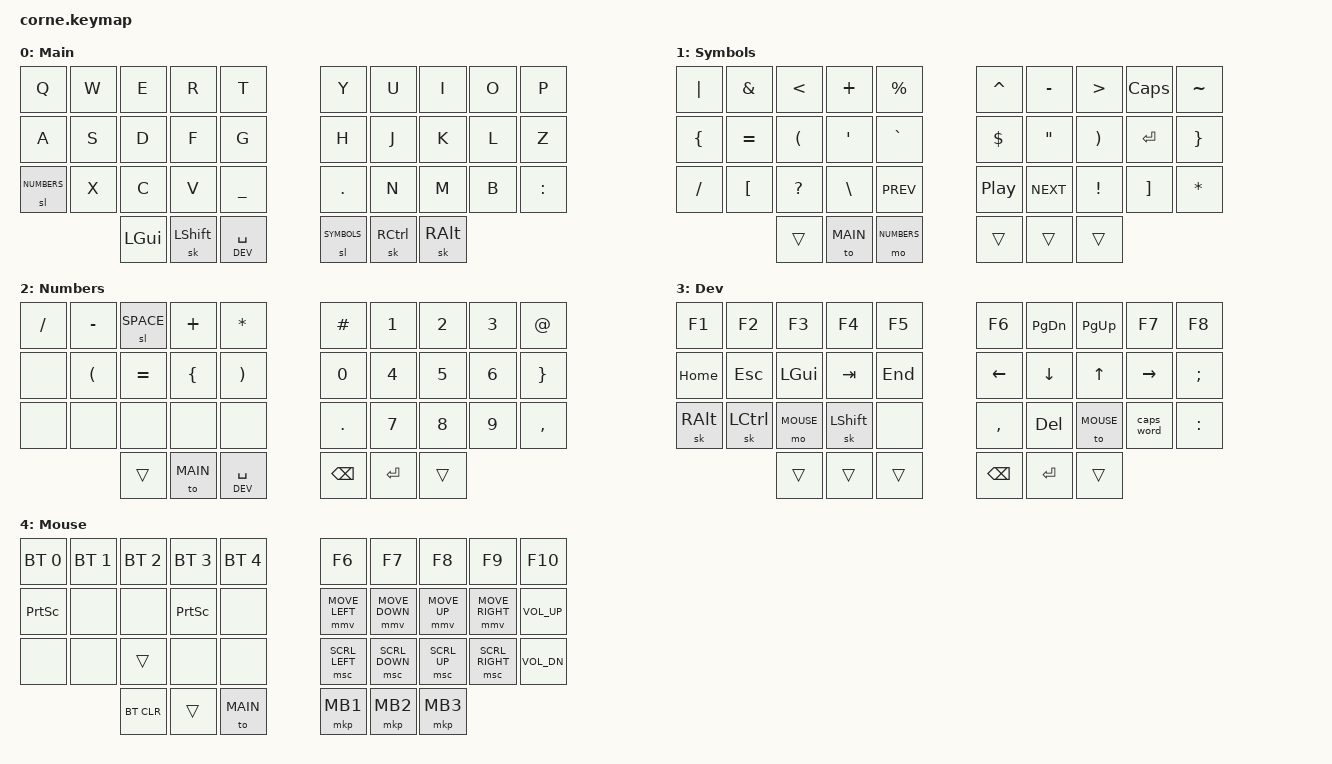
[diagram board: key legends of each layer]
/*
 * v1.0
 *
 * Copyright (c) 2020 The ZMK Contributors
 *
 * SPDX-License-Identifier: MIT
 */

#define ZMK_POINTING_DEFAULT_MOVE_VAL 1500  // default: 600
// #define ZMK_POINTING_DEFAULT_SCRL_VAL 20    // default: 10

#include <behaviors.dtsi>
#include <dt-bindings/zmk/keys.h>
#include <dt-bindings/zmk/bt.h>
#include <dt-bindings/zmk/pointing.h>

#define MAIN 0
#define SYMBOLS 1
#define NUMBERS 2
#define DEV 3
#define MOUSE 4

// ################################################################################################## KEY REF ####################################################################################################
// ╭━━━━━━━━━━━━━━━━━━━┬━━━━━━━━━━━━━━━━━━━┬━━━━ Left-side ━━━━┬━━━━━━━━━━━━━━━━━━━┬━━━━━━━━━━━━━━━━━━━╮   ╭━━━━━━━━━━━━━━━━━━━┬━━━━━━━━━━━━━━━━━━━┬━━━ Right-side ━━━━┬━━━━━━━━━━━━━━━━━━━┬━━━━━━━━━━━━━━━━━━━╮
// |        00         |        01         |        02         |        03         |        04         |   |        05         |        06         |        07         |        08         |        09         |
// ┣━━━━━━━━━━━━━━━━━━━╋━━━━━━━━━━━━━━━━━━━╋━━━━━━━━━━━━━━━━━━━╋━━━━━━━━━━━━━━━━━━━╋━━━━━━━━━━━━━━━━━━━┫   ┣━━━━━━━━━━━━━━━━━━━╋━━━━━━━━━━━━━━━━━━━╋━━━━━━━━━━━━━━━━━━━╋━━━━━━━━━━━━━━━━━━━╋━━━━━━━━━━━━━━━━━━━┫
// |        10         |        11         |        12         |        13         |        14         |   |        15         |        16         |        17         |        18         |        19         |
// ┣━━━━━━━━━━━━━━━━━━━╋━━━━━━━━━━━━━━━━━━━╋━━━━━━━━━━━━━━━━━━━╋━━━━━━━━━━━━━━━━━━━╋━━━━━━━━━━━━━━━━━━━┫   ┣━━━━━━━━━━━━━━━━━━━╋━━━━━━━━━━━━━━━━━━━╋━━━━━━━━━━━━━━━━━━━╋━━━━━━━━━━━━━━━━━━━╋━━━━━━━━━━━━━━━━━━━┫
// |        20         |        21         |        22         |        23         |        24         |   |        25         |        26         |        27         |        28         |        29         |
// ┗━━━━━━━━━━━━━━━━━━━┻━━━━━━━━━━━━━━━━━━━╊━━━━━━━━━━━━━━━━━━━╋━━━━━━━━━━━━━━━━━━━╋━━━━━━━━━━━━━━━━━━━┫   ┗━━━━━━━━━━━━━━━━━━━╊━━━━━━━━━━━━━━━━━━━╋━━━━━━━━━━━━━━━━━━━╋━━━━━━━━━━━━━━━━━━━┻━━━━━━━━━━━━━━━━━━━┫
//                                         |        30         |        31         |        32         |   |        33         |        34         |        35         |
//      			           ┗━━━━━━━━━━━━━━━━━━━┻━━━━━━━━━━━━━━━━━━━┻━━━━━━━━━━━━━━━━━━━┛   ┗━━━━━━━━━━━━━━━━━━━┻━━━━━━━━━━━━━━━━━━━┻━━━━━━━━━━━━━━━━━━━┛

&caps_word {
    continue-list = <UNDERSCORE MINUS>;
};

/ {
    macros {
        lm: layer_mod {
            compatible = "zmk,behavior-macro-two-param";
            wait-ms = <0>; // Small buffer to ensure HID reports clear
            tap-ms = <0>;
            #binding-cells = <2>;
            bindings
                = <&macro_tap &none>
                , <&macro_param_1to1>
                , <&macro_press &mo MACRO_PLACEHOLDER>
                , <&macro_param_2to1>
                , <&macro_press &kp MACRO_PLACEHOLDER>
                , <&macro_pause_for_release>
                , <&macro_param_2to1>
                , <&macro_release &kp MACRO_PLACEHOLDER>
                , <&macro_param_1to1>
                , <&macro_release &mo MACRO_PLACEHOLDER>
                ;
        };
    };

    combos {
        compatible = "zmk,combos";
    };

    conditional_layers {
        compatible = "zmk,conditional-layers";
    };

    chosen {
        zmk,physical-layout = &foostan_corne_5col_layout;
    };
    behaviors {
        th: hold_tap {
            compatible = "zmk,behavior-hold-tap";
            #binding-cells = <2>;
            tapping-term-ms = <200>;
            bindings = <&kp>, <&to>;

        };
        // Morphs
	m_sl: slash_morph {
            compatible = "zmk,behavior-mod-morph";
            #binding-cells = <0>;
            bindings = <&kp FSLH>, <&kp BSLH>;
            mods = <(MOD_LSFT|MOD_RSFT)>;
        };
	m_semi_score: semi_score_morph {
            compatible = "zmk,behavior-mod-morph";
            #binding-cells = <0>;
            bindings = <&kp SEMI>, <&kp UNDERSCORE>;
            mods = <(MOD_LSFT|MOD_RSFT)>;
        };
        m_dot: dot_morph {
            compatible = "zmk,behavior-mod-morph";
            #binding-cells = <0>;
            bindings = <&kp DOT>, <&kp COMMA>;
            mods = <(MOD_LSFT|MOD_RSFT)>;
        };
    };


    keymap {
        compatible = "zmk,keymap";

// ################################################################################################## MAIN ####################################################################################################
		MAIN {
            display-name = "Main";
            bindings = <
// ╭━━━━━━━━━━━━━━━━━━━┬━━━━━━━━━━━━━━━━━━━┬━━━━ Left-side ━━━━┬━━━━━━━━━━━━━━━━━━━┬━━━━━━━━━━━━━━━━━━━╮   ╭━━━━━━━━━━━━━━━━━━━┬━━━━━━━━━━━━━━━━━━━┬━━━ Right-side ━━━━┬━━━━━━━━━━━━━━━━━━━┬━━━━━━━━━━━━━━━━━━━╮
    &kp Q		&kp W	            &kp E		&kp R		    &kp T		    &kp Y		&kp U	    	    &kp I		&kp O	            &kp P
// ┣━━━━━━━━━━━━━━━━━━━╋━━━━━━━━━━━━━━━━━━━╋━━━━━━━━━━━━━━━━━━━╋━━━━━━━━━━━━━━━━━━━╋━━━━━━━━━━━━━━━━━━━┫   ┣━━━━━━━━━━━━━━━━━━━╋━━━━━━━━━━━━━━━━━━━╋━━━━━━━━━━━━━━━━━━━╋━━━━━━━━━━━━━━━━━━━╋━━━━━━━━━━━━━━━━━━━┫
    &kp A               &kp S               &kp D               &kp F               &kp G                   &kp H   		&kp J	            &kp K   	  	&kp L               &kp Z
// ┣━━━━━━━━━━━━━━━━━━━╋━━━━━━━━━━━━━━━━━━━╋━━━━━━━━━━━━━━━━━━━╋━━━━━━━━━━━━━━━━━━━╋━━━━━━━━━━━━━━━━━━━┫   ┣━━━━━━━━━━━━━━━━━━━╋━━━━━━━━━━━━━━━━━━━╋━━━━━━━━━━━━━━━━━━━╋━━━━━━━━━━━━━━━━━━━╋━━━━━━━━━━━━━━━━━━━┫
    &sl NUMBERS 	&kp X		    &kp C		&kp V		    &kp UNDERSCORE	    &kp DOT		&kp N	            &kp M	        &kp B	    	    &kp COLON
// ┗━━━━━━━━━━━━━━━━━━━┻━━━━━━━━━━━━━━━━━━━╊━━━━━━━━━━━━━━━━━━━╋━━━━━━━━━━━━━━━━━━━╋━━━━━━━━━━━━━━━━━━━┫   ┗━━━━━━━━━━━━━━━━━━━╊━━━━━━━━━━━━━━━━━━━╋━━━━━━━━━━━━━━━━━━━╋━━━━━━━━━━━━━━━━━━━┻━━━━━━━━━━━━━━━━━━━┫
					    &kp LGUI	        &sk LSHFT	    &lt DEV SPACE	    &sl SYMBOLS		&sk RCTRL           &sk RALT
//		                           ┗━━━━━━━━━━━━━━━━━━━┻━━━━━━━━━━━━━━━━━━━┻━━━━━━━━━━━━━━━━━━━┛   ┗━━━━━━━━━━━━━━━━━━━┻━━━━━━━━━━━━━━━━━━━┻━━━━━━━━━━━━━━━━━━━┛
			>;
		};

// ################################################################################################## CAP ####################################################################################################
		SYMBOLS {
            display-name = "Symbols";
            bindings = <
// ╭━━━━━━━━━━━━━━━━━━━┬━━━━━━━━━━━━━━━━━━━┬━━━━ Left-side ━━━━┬━━━━━━━━━━━━━━━━━━━┬━━━━━━━━━━━━━━━━━━━╮   ╭━━━━━━━━━━━━━━━━━━━┬━━━━━━━━━━━━━━━━━━━┬━━━ Right-side ━━━━┬━━━━━━━━━━━━━━━━━━━┬━━━━━━━━━━━━━━━━━━━╮
    &kp PIPE 		&kp AMPERSAND	    &kp LESS_THAN	&kp PLUS	    &kp PERCENT		    &kp CARET		&kp MINUS	    &kp GREATER_THAN	&kp CAPS	    &kp TILDE
// ┣━━━━━━━━━━━━━━━━━━━╋━━━━━━━━━━━━━━━━━━━╋━━━━━━━━━━━━━━━━━━━╋━━━━━━━━━━━━━━━━━━━╋━━━━━━━━━━━━━━━━━━━┫   ┣━━━━━━━━━━━━━━━━━━━╋━━━━━━━━━━━━━━━━━━━╋━━━━━━━━━━━━━━━━━━━╋━━━━━━━━━━━━━━━━━━━╋━━━━━━━━━━━━━━━━━━━┫
    &kp LBRC 		&kp EQUAL           &kp LPAR            &kp SINGLE_QUOTE    &kp GRAVE               &kp DOLLAR 		&kp DOUBLE_QUOTES   &kp RPAR  	  	&kp ENTER	    &kp RBRC 
// ┣━━━━━━━━━━━━━━━━━━━╋━━━━━━━━━━━━━━━━━━━╋━━━━━━━━━━━━━━━━━━━╋━━━━━━━━━━━━━━━━━━━╋━━━━━━━━━━━━━━━━━━━┫   ┣━━━━━━━━━━━━━━━━━━━╋━━━━━━━━━━━━━━━━━━━╋━━━━━━━━━━━━━━━━━━━╋━━━━━━━━━━━━━━━━━━━╋━━━━━━━━━━━━━━━━━━━┫
    &kp SLASH 		&kp LBKT	    &kp QUESTION	&kp BACKSLASH	    &kp C_PREV		    &kp C_PP	        &kp C_NEXT          &kp EXCLAMATION	&kp RBKT    	    &kp ASTERISK 
// ┗━━━━━━━━━━━━━━━━━━━┻━━━━━━━━━━━━━━━━━━━╊━━━━━━━━━━━━━━━━━━━╋━━━━━━━━━━━━━━━━━━━╋━━━━━━━━━━━━━━━━━━━┫   ┗━━━━━━━━━━━━━━━━━━━╊━━━━━━━━━━━━━━━━━━━╋━━━━━━━━━━━━━━━━━━━╋━━━━━━━━━━━━━━━━━━━┻━━━━━━━━━━━━━━━━━━━┫
				            &trans		&to MAIN       	    &mo NUMBERS 	    &trans		&trans              &trans
//		                           ┗━━━━━━━━━━━━━━━━━━━┻━━━━━━━━━━━━━━━━━━━┻━━━━━━━━━━━━━━━━━━━┛   ┗━━━━━━━━━━━━━━━━━━━┻━━━━━━━━━━━━━━━━━━━┻━━━━━━━━━━━━━━━━━━━┛
			>;
		};

// ################################################################################################# DEVELOPMENT ###########################################################################################
		NUMBERS {
			display-name = "Numbers";
            bindings = <
// ╭━━━━━━━━━━━━━━━━━━━┬━━━━━━━━━━━━━━━━━━━┬━━━━ Left-side ━━━━┬━━━━━━━━━━━━━━━━━━━┬━━━━━━━━━━━━━━━━━━━╮   ╭━━━━━━━━━━━━━━━━━━━┬━━━━━━━━━━━━━━━━━━━┬━━━ Right-side ━━━━┬━━━━━━━━━━━━━━━━━━━┬━━━━━━━━━━━━━━━━━━━╮
    &kp SLASH		&kp MINUS	    &sl SPACE 		&kp PLUS	    &kp ASTERISK	    &kp HASH		&kp N1		    &kp N2		&kp N3		    &kp AT 
// ┣━━━━━━━━━━━━━━━━━━━╋━━━━━━━━━━━━━━━━━━━╋━━━━━━━━━━━━━━━━━━━╋━━━━━━━━━━━━━━━━━━━╋━━━━━━━━━━━━━━━━━━━┫   ┣━━━━━━━━━━━━━━━━━━━╋━━━━━━━━━━━━━━━━━━━╋━━━━━━━━━━━━━━━━━━━╋━━━━━━━━━━━━━━━━━━━╋━━━━━━━━━━━━━━━━━━━┫
    &none		&kp LPAR	    &kp EQUAL		&kp LBRC	    &kp RPAR		    &kp N0		&kp N4		    &kp N5		&kp N6		    &kp RBRC 
// ┣━━━━━━━━━━━━━━━━━━━╋━━━━━━━━━━━━━━━━━━━╋━━━━━━━━━━━━━━━━━━━╋━━━━━━━━━━━━━━━━━━━╋━━━━━━━━━━━━━━━━━━━┫   ┣━━━━━━━━━━━━━━━━━━━╋━━━━━━━━━━━━━━━━━━━╋━━━━━━━━━━━━━━━━━━━╋━━━━━━━━━━━━━━━━━━━╋━━━━━━━━━━━━━━━━━━━┫
    &none		&none		    &none		&none      	    &none		    &kp DOT		&kp N7		    &kp N8		&kp N9		    &kp COMMA 
// ┗━━━━━━━━━━━━━━━━━━━┻━━━━━━━━━━━━━━━━━━━╊━━━━━━━━━━━━━━━━━━━╋━━━━━━━━━━━━━━━━━━━╋━━━━━━━━━━━━━━━━━━━┫   ┗━━━━━━━━━━━━━━━━━━━╊━━━━━━━━━━━━━━━━━━━╋━━━━━━━━━━━━━━━━━━━╋━━━━━━━━━━━━━━━━━━━┻━━━━━━━━━━━━━━━━━━━┫
					    &trans              &to MAIN	    &lt DEV SPACE 	    &kp BACKSPACE       &kp ENTER	    &trans
//      			           ┗━━━━━━━━━━━━━━━━━━━┻━━━━━━━━━━━━━━━━━━━┻━━━━━━━━━━━━━━━━━━━┛   ┗━━━━━━━━━━━━━━━━━━━┻━━━━━━━━━━━━━━━━━━━┻━━━━━━━━━━━━━━━━━━━┛
			>;
		};

// ################################################################################################# DEVELOPMENT ###########################################################################################
		DEV {
			display-name = "Dev";
            bindings = <
// ╭━━━━━━━━━━━━━━━━━━━┬━━━━━━━━━━━━━━━━━━━┬━━━━ Left-side ━━━━┬━━━━━━━━━━━━━━━━━━━┬━━━━━━━━━━━━━━━━━━━╮   ╭━━━━━━━━━━━━━━━━━━━┬━━━━━━━━━━━━━━━━━━━┬━━━ Right-side ━━━━┬━━━━━━━━━━━━━━━━━━━┬━━━━━━━━━━━━━━━━━━━╮
    &kp F1		&kp F2		    &kp F3		&kp F4		    &kp F5		    &kp F6		&kp PAGE_DOWN       &kp PAGE_UP		&kp F7		    &kp F8
// ┣━━━━━━━━━━━━━━━━━━━╋━━━━━━━━━━━━━━━━━━━╋━━━━━━━━━━━━━━━━━━━╋━━━━━━━━━━━━━━━━━━━╋━━━━━━━━━━━━━━━━━━━┫   ┣━━━━━━━━━━━━━━━━━━━╋━━━━━━━━━━━━━━━━━━━╋━━━━━━━━━━━━━━━━━━━╋━━━━━━━━━━━━━━━━━━━╋━━━━━━━━━━━━━━━━━━━┫
    &kp HOME		&kp ESCAPE	    &kp LGUI		&kp TAB		    &kp END		    &kp LEFT   		&kp DOWN	    &kp UP   	  	&kp RIGHT           &kp SEMI 
// ┣━━━━━━━━━━━━━━━━━━━╋━━━━━━━━━━━━━━━━━━━╋━━━━━━━━━━━━━━━━━━━╋━━━━━━━━━━━━━━━━━━━╋━━━━━━━━━━━━━━━━━━━┫   ┣━━━━━━━━━━━━━━━━━━━╋━━━━━━━━━━━━━━━━━━━╋━━━━━━━━━━━━━━━━━━━╋━━━━━━━━━━━━━━━━━━━╋━━━━━━━━━━━━━━━━━━━┫
    &sk RALT		&sk LCTRL           &mo MOUSE		&sk LSHFT	    &none		    &kp COMMA		&kp DELETE	    &to MOUSE		&caps_word	    &kp COLON
// ┗━━━━━━━━━━━━━━━━━━━┻━━━━━━━━━━━━━━━━━━━╊━━━━━━━━━━━━━━━━━━━╋━━━━━━━━━━━━━━━━━━━╋━━━━━━━━━━━━━━━━━━━┫   ┗━━━━━━━━━━━━━━━━━━━╊━━━━━━━━━━━━━━━━━━━╋━━━━━━━━━━━━━━━━━━━╋━━━━━━━━━━━━━━━━━━━┻━━━━━━━━━━━━━━━━━━━┫
	    			            &trans              &trans              &trans                  &kp BACKSPACE       &kp ENTER	    &trans
//      			           ┗━━━━━━━━━━━━━━━━━━━┻━━━━━━━━━━━━━━━━━━━┻━━━━━━━━━━━━━━━━━━━┛   ┗━━━━━━━━━━━━━━━━━━━┻━━━━━━━━━━━━━━━━━━━┻━━━━━━━━━━━━━━━━━━━┛
			>;
		};

		MOUSE {
			display-name = "Mouse";
            bindings = <
// ╭━━━━━━━━━━━━━━━━━━━┬━━━━━━━━━━━━━━━━━━━┬━━━━ Left-side ━━━━┬━━━━━━━━━━━━━━━━━━━┬━━━━━━━━━━━━━━━━━━━╮   ╭━━━━━━━━━━━━━━━━━━━┬━━━━━━━━━━━━━━━━━━━┬━━━ Right-side ━━━━┬━━━━━━━━━━━━━━━━━━━┬━━━━━━━━━━━━━━━━━━━╮
    &bt BT_SEL 0        &bt BT_SEL 1        &bt BT_SEL 2      	&bt BT_SEL 3        &bt BT_SEL 4	    &kp F6              &kp F7	            &kp F8        	&kp F9      	    &kp F10
// ┣━━━━━━━━━━━━━━━━━━━╋━━━━━━━━━━━━━━━━━━━╋━━━━━━━━━━━━━━━━━━━╋━━━━━━━━━━━━━━━━━━━╋━━━━━━━━━━━━━━━━━━━┫   ┣━━━━━━━━━━━━━━━━━━━╋━━━━━━━━━━━━━━━━━━━╋━━━━━━━━━━━━━━━━━━━╋━━━━━━━━━━━━━━━━━━━╋━━━━━━━━━━━━━━━━━━━┫
    &kp PSCRN           &none	            &none	  	&kp PSCRN      	    &none	            &mmv MOVE_LEFT	&mmv MOVE_DOWN	    &mmv MOVE_UP	&mmv MOVE_RIGHT     &kp C_VOL_UP
// ┣━━━━━━━━━━━━━━━━━━━╋━━━━━━━━━━━━━━━━━━━╋━━━━━━━━━━━━━━━━━━━╋━━━━━━━━━━━━━━━━━━━╋━━━━━━━━━━━━━━━━━━━┫   ┣━━━━━━━━━━━━━━━━━━━╋━━━━━━━━━━━━━━━━━━━╋━━━━━━━━━━━━━━━━━━━╋━━━━━━━━━━━━━━━━━━━╋━━━━━━━━━━━━━━━━━━━┫
    &none               &none	            &trans		&none          	    &none		    &msc SCRL_LEFT	&msc SCRL_DOWN	    &msc SCRL_UP	&msc SCRL_RIGHT	    &kp C_VOL_DN
// ┗━━━━━━━━━━━━━━━━━━━┻━━━━━━━━━━━━━━━━━━━╊━━━━━━━━━━━━━━━━━━━╋━━━━━━━━━━━━━━━━━━━╋━━━━━━━━━━━━━━━━━━━┫   ┗━━━━━━━━━━━━━━━━━━━╊━━━━━━━━━━━━━━━━━━━╋━━━━━━━━━━━━━━━━━━━╋━━━━━━━━━━━━━━━━━━━┻━━━━━━━━━━━━━━━━━━━┫
					    &bt BT_CLR		&trans         	    &to MAIN                &mkp MB1		&mkp MB2	    &mkp MB3 
//      			           ┗━━━━━━━━━━━━━━━━━━━┻━━━━━━━━━━━━━━━━━━━┻━━━━━━━━━━━━━━━━━━━┛   ┗━━━━━━━━━━━━━━━━━━━┻━━━━━━━━━━━━━━━━━━━┻━━━━━━━━━━━━━━━━━━━┛
			>;
		};
    };
};
